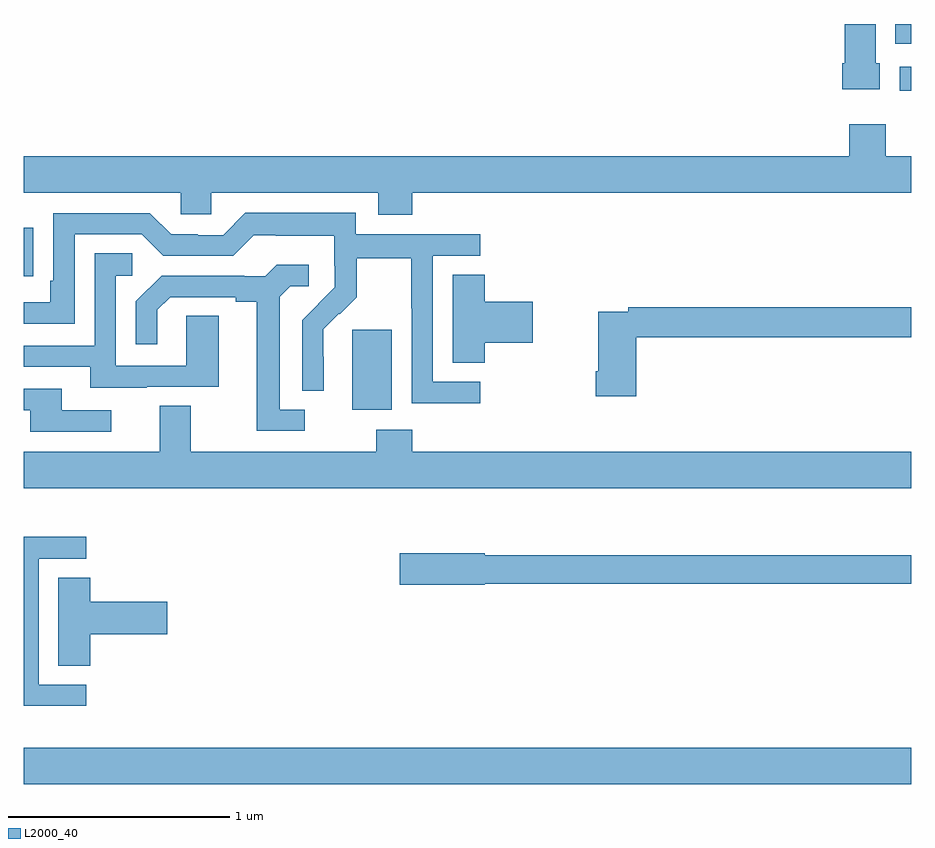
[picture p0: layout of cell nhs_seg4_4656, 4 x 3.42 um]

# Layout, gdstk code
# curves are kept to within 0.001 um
import gdstk
lib = gdstk.Library(unit=1e-6, precision=1e-09)
def R(c, l, rs):  # rectangles x0, y0, x1, y1
    for r in rs: c.add(gdstk.rectangle(r[:2], r[2:], *l))
def P(c, l, *ps):  # polygons
    for p in ps: c.add(gdstk.Polygon(p, *l))
L2000_40 = (2000, 40)

nhs_seg4_4656 = lib.new_cell('nhs_seg4_4656')
R(nhs_seg4_4656, L2000_40, [(361,807.476,365,807.64), (362.48,809.162,362.659,809.523), (361,809.764,361.043,809.983), (364.947,810.6,365,810.708), (364.928,810.812,365,810.9)])
P(nhs_seg4_4656, L2000_40, [(364.858,810.723),(364.84,810.723),(364.84,810.9),(364.7,810.9),(364.7,810.723),(364.688,810.723),(364.688,810.605),(364.858,810.605)],
  [(362.75,810.14),(365,810.14),(365,810.304),(364.885,810.304),(364.885,810.448),(364.721,810.448),(364.721,810.304),(361,810.304),(361,810.14),(361.707,810.14),(361.707,810.042),(361.845,810.042),(361.845,810.14),(362.597,810.14),(362.597,810.041),(362.75,810.041)],
  [(363.058,809.289),(362.844,809.289),(362.844,809.856),(363.058,809.856),(363.058,809.952),(362.496,809.952),(362.496,810.049),(361.999,810.049),(361.899,809.949),(361.784,809.949),(361.784,809.952),(361.665,809.952),(361.569,810.048),(361.134,810.048),(361.134,809.743),(361.121,809.743),(361.121,809.646),(361,809.646),(361,809.55),(361.23,809.55),(361.23,809.952),(361.533,809.952),(361.629,809.856),(361.944,809.856),(362.037,809.949),(362.137,809.949),(362.137,809.945),(362.4,809.945),(362.4,809.811),(362.402,809.811),(362.402,809.714),(362.256,809.566),(362.256,809.248),(362.352,809.248),(362.351,809.525),(362.421,809.595),(362.424,809.592),(362.501,809.669),(362.501,809.844),(362.746,809.844),(362.746,809.62),(362.748,809.62),(362.748,809.191),(363.058,809.191)],
  [(361.555,809.265),(361.879,809.265),(361.879,809.585),(361.734,809.585),(361.734,809.361),(361.416,809.361),(361.416,809.766),(361.489,809.766),(361.489,809.867),(361.32,809.867),(361.32,809.451),(361,809.451),(361,809.355),(361.301,809.355),(361.301,809.261),(361.555,809.261)],
  [(362.266,809.163),(362.155,809.163),(362.155,809.671),(362.202,809.718),(362.284,809.718),(362.284,809.815),(362.14,809.815),(362.088,809.763),(361.994,809.763),(361.994,809.766),(361.622,809.766),(361.506,809.65),(361.506,809.457),(361.603,809.457),(361.603,809.613),(361.66,809.67),(361.955,809.67),(361.955,809.648),(362.051,809.648),(362.051,809.067),(362.266,809.067)],
  [(363.077,809.465),(363.295,809.465),(363.295,809.648),(363.077,809.648),(363.077,809.771),(362.933,809.771),(362.933,809.374),(363.077,809.374)],
  [(363.761,809.488),(365,809.488),(365,809.624),(363.724,809.624),(363.724,809.604),(363.59,809.604),(363.59,809.335),(363.578,809.335),(363.578,809.223),(363.761,809.223)],
  [(361.396,809.16),(361.171,809.16),(361.171,809.256),(361,809.256),(361,809.16),(361.031,809.16),(361.031,809.064),(361.396,809.064)],
  [(365,808.972),(362.75,808.972),(362.75,809.071),(362.59,809.071),(362.59,808.972),(361.753,808.972),(361.753,809.18),(361.613,809.18),(361.613,808.972),(361,808.972),(361,808.808),(365,808.808)],
  [(361.282,807.924),(361.068,807.924),(361.068,808.491),(361.282,808.491),(361.282,808.59),(361,808.59),(361,807.828),(361.282,807.828)],
  [(363.078,808.378),(365,808.378),(365,808.507),(363.078,808.507),(363.078,808.515),(362.694,808.515),(362.694,808.373),(363.078,808.373)],
  [(361.301,808.151),(361.648,808.151),(361.648,808.298),(361.301,808.298),(361.301,808.406),(361.157,808.406),(361.157,808.009),(361.301,808.009)])

lib.write_gds('nhs_seg4_4656.gds')
